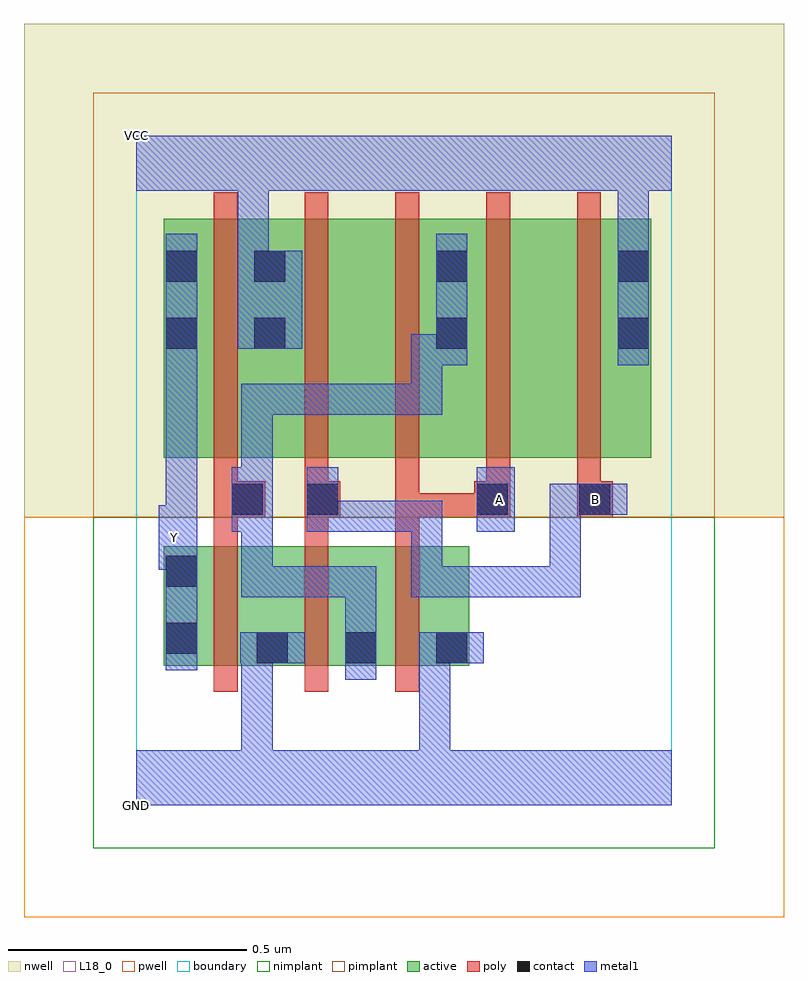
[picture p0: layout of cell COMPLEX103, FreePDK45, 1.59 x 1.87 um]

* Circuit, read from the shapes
.subckt COMPLEX103 A B GND VCC Y
M1 GND n1 Y VSUBS nfet w=0.25u l=0.05u
M2 n1 B GND VSUBS nfet w=0.25u l=0.05u
M3 GND A n1 VSUBS nfet w=0.25u l=0.05u
M4 VCC n1 Y n2 pfet w=0.5u l=0.05u
M5 n3 B VCC n2 pfet w=0.5u l=0.05u
M6 n1 A n3 n2 pfet w=0.5u l=0.05u
M7 n4 A n1 n2 pfet w=0.5u l=0.05u
M8 VCC B n4 n2 pfet w=0.5u l=0.05u
.ends

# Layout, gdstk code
import gdstk
lib = gdstk.Library(unit=1e-6, precision=1e-09)
def R(c, l, rs):  # rectangles x0, y0, x1, y1
    for r in rs: c.add(gdstk.rectangle(r[:2], r[2:], *l))
def A(c, l, x, y, w, h, nx, ny, dx, dy):  # array of equal rectangles
    R(c, l, [(x+i*dx, y+j*dy, x+i*dx+w, y+j*dy+h) for i in range(nx) for j in range(ny)])
active = (1, 0)
pwell = (2, 0)
nwell = (3, 0)
nimplant = (4, 0)
pimplant = (5, 0)
poly = (9, 0)
contact = (10, 0)
metal1 = (11, 0)
L18_0 = (18, 0)
boundary = (235, 0)

complex103 = lib.new_cell('COMPLEX103')
R(complex103, active, [(0.057,0.292,0.132,0.542), (0.057,0.292,0.322,0.542), (0.247,0.292,0.507,0.542), (0.247,0.292,0.322,0.497), (0.432,0.292,0.697,0.542), (0.432,0.292,0.507,0.47), (0.622,0.292,0.697,0.542), (0.057,0.727,0.132,1.165), (0.057,0.727,0.317,1.227), (0.242,0.727,0.472,1.227), (0.472,0.727,0.697,1.227), (0.622,0.727,0.852,1.227), (0.852,0.727,1.077,1.227), (1.002,0.727,1.077,1.165), (0.242,0.807,0.317,1.165), (0.622,0.807,0.697,1.165)])
R(complex103, pwell, [(-0.235,-0.235,1.355,0.602)])
R(complex103, nwell, [(-0.235,0.602,1.355,1.635)])
R(complex103, nimplant, [(-0.09,-0.09,1.21,0.602)])
R(complex103, pimplant, [(-0.09,0.602,1.21,1.49)])
A(complex103, poly, 0.162, 0.237, 0.05, 0.36, 3, 1, 0.19, 0)
A(complex103, poly, 0.162, 0.547, 0.05, 0.105, 3, 1, 0.19, 0)
A(complex103, poly, 0.162, 0.672, 0.05, 0.61, 5, 1, 0.19, 0)
R(complex103, poly, [(0.162,0.602,0.27,0.677), (0.352,0.602,0.427,0.677), (0.542,0.602,0.592,0.652), (0.542,0.602,0.757,0.652), (0.542,0.602,0.592,0.722), (0.707,0.602,0.782,0.677), (0.707,0.602,0.757,0.652), (0.707,0.602,0.757,0.652), (0.922,0.602,0.997,0.677), (0.162,0.627,0.212,0.722), (0.352,0.627,0.402,0.722), (0.732,0.627,0.782,0.722), (0.922,0.627,0.972,0.722)])
A(complex103, contact, 0.247, 0.955, 0.065, 0.065, 3, 2, 0.38, 0.14)
R(complex103, contact, [(0.252,0.297,0.317,0.362), (0.437,0.297,0.502,0.362), (0.627,0.297,0.692,0.362), (0.062,0.317,0.127,0.382), (0.062,0.457,0.127,0.522), (0.2,0.607,0.265,0.672), (0.357,0.607,0.422,0.672), (0.712,0.607,0.777,0.672), (0.927,0.607,0.992,0.672), (0.062,0.955,0.127,1.02), (0.062,1.095,0.127,1.16)])
R(complex103, metal1, [(0,0,1.12,0.115), (0.22,0.05,0.285,0.362), (0.592,0.05,0.657,0.115), (0.592,0.05,0.657,0.115), (0.592,0.05,0.657,0.115), (0.592,0.05,0.657,0.115), (0.592,0.05,0.657,0.362), (0.437,0.262,0.502,0.397), (0.062,0.282,0.127,0.557), (0.217,0.297,0.352,0.362), (0.22,0.297,0.285,0.362), (0.22,0.297,0.285,0.362), (0.22,0.297,0.285,0.362), (0.22,0.297,0.285,0.362), (0.592,0.297,0.727,0.362), (0.437,0.332,0.502,0.397), (0.437,0.332,0.502,0.5), (0.22,0.435,0.285,0.5), (0.22,0.435,0.285,0.637), (0.22,0.435,0.502,0.5), (0.575,0.435,0.64,0.5), (0.575,0.435,0.82,0.5), (0.575,0.435,0.64,0.637), (0.755,0.435,0.82,0.5), (0.755,0.435,0.93,0.5), (0.865,0.435,0.93,0.5), (0.865,0.435,0.93,0.672), (0.047,0.492,0.127,0.627), (0.062,0.492,0.127,0.557), (0.062,0.562,0.127,0.985), (0.2,0.572,0.265,0.707), (0.2,0.572,0.285,0.637), (0.22,0.572,0.285,0.637), (0.22,0.572,0.285,0.882), (0.357,0.572,0.422,0.637), (0.357,0.572,0.422,0.637), (0.357,0.572,0.64,0.637), (0.357,0.572,0.422,0.707), (0.575,0.572,0.64,0.637), (0.575,0.572,0.64,0.637), (0.575,0.572,0.64,0.637), (0.712,0.572,0.792,0.707), (0.865,0.607,0.93,0.672), (0.865,0.607,0.957,0.672), (0.892,0.607,1.027,0.672), (0.22,0.817,0.285,0.882), (0.22,0.817,0.502,0.882), (0.437,0.817,0.502,0.882), (0.437,0.817,0.502,0.882), (0.437,0.817,0.502,0.882), (0.437,0.817,0.64,0.882), (0.575,0.817,0.64,0.985), (0.062,0.92,0.127,1.195), (0.575,0.92,0.692,0.985), (0.627,0.92,0.692,1.195), (1.007,0.92,1.072,1.195), (0.212,0.955,0.347,1.16), (0.212,1.095,0.277,1.16), (0.212,1.095,0.277,1.16), (0.212,1.095,0.277,1.35), (1.007,1.13,1.072,1.35), (0,1.285,1.12,1.4), (1.007,1.285,1.072,1.35), (1.007,1.285,1.072,1.35)])
R(complex103, L18_0, [(0,0,1.12,0.115), (0.22,0.05,0.285,0.362), (0.592,0.05,0.657,0.115), (0.592,0.05,0.657,0.115), (0.592,0.05,0.657,0.115), (0.592,0.05,0.657,0.115), (0.592,0.05,0.657,0.362), (0.062,0.282,0.127,0.557), (0.217,0.297,0.352,0.362), (0.22,0.297,0.285,0.362), (0.22,0.297,0.285,0.362), (0.22,0.297,0.285,0.362), (0.22,0.297,0.285,0.362), (0.592,0.297,0.727,0.362), (0.575,0.435,0.64,0.5), (0.575,0.435,0.64,0.637), (0.575,0.435,0.82,0.5), (0.755,0.435,0.82,0.5), (0.755,0.435,0.93,0.5), (0.865,0.435,0.93,0.5), (0.865,0.435,0.93,0.672), (0.047,0.492,0.127,0.627), (0.062,0.492,0.127,0.557), (0.047,0.527,0.112,0.592), (0.062,0.562,0.127,0.985), (0.357,0.572,0.422,0.637), (0.357,0.572,0.422,0.637), (0.357,0.572,0.422,0.707), (0.357,0.572,0.64,0.637), (0.575,0.572,0.64,0.637), (0.575,0.572,0.64,0.637), (0.575,0.572,0.64,0.637), (0.712,0.572,0.792,0.707), (0.727,0.607,0.792,0.672), (0.865,0.607,0.93,0.672), (0.865,0.607,0.957,0.672), (0.892,0.607,1.027,0.672), (0.927,0.607,0.992,0.672), (0.062,0.92,0.127,1.195), (1.007,0.92,1.072,1.195), (0.212,0.955,0.347,1.16), (0.212,1.095,0.277,1.16), (0.212,1.095,0.277,1.16), (0.212,1.095,0.277,1.35), (1.007,1.13,1.072,1.35), (0,1.285,1.12,1.4), (1.007,1.285,1.072,1.35), (1.007,1.285,1.072,1.35)])
R(complex103, boundary, [(0,0,1.12,1.4)])
complex103.add(gdstk.Label('A', (0.76,0.64), layer=11, texttype=0))
complex103.add(gdstk.Label('B', (0.96,0.64), layer=11, texttype=0))
complex103.add(gdstk.Label('Y', (0.08,0.56), layer=11, texttype=0))
complex103.add(gdstk.Label('VCC', (0,1.4), layer=11, texttype=0))
complex103.add(gdstk.Label('GND', (0,0), layer=11, texttype=0))

lib.write_gds('COMPLEX103.gds')
